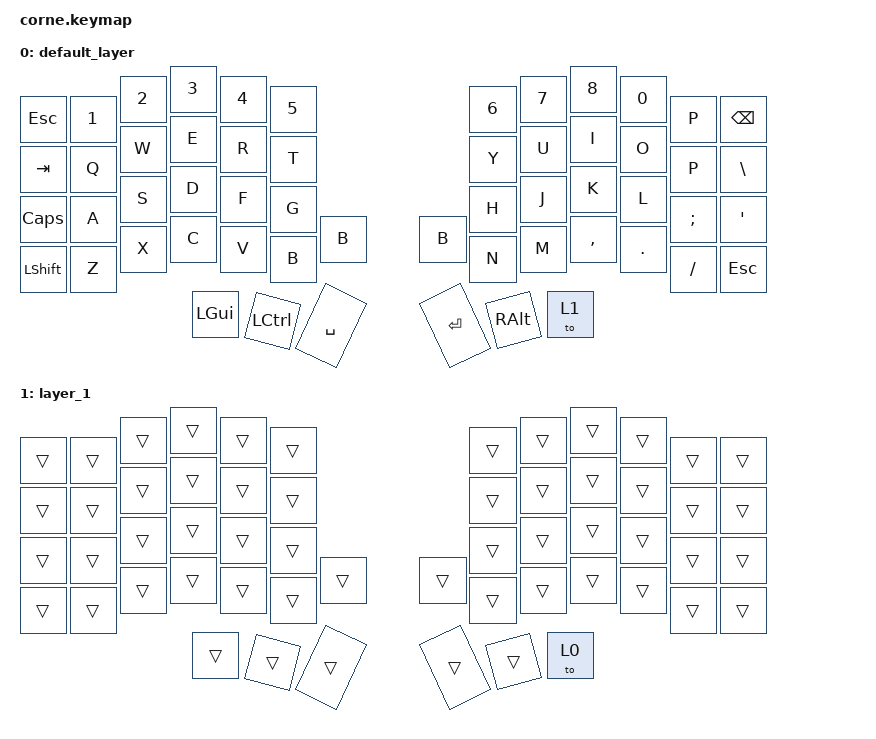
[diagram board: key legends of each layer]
/*
 * Copyright (c) 2020 The ZMK Contributors
 *
 * SPDX-License-Identifier: MIT
 */

#include <behaviors.dtsi>
#include <dt-bindings/zmk/keys.h>

/ {
    keymap {
        compatible = "zmk,keymap";

        default_layer {
            // -----------------------------------------------------------------------------------------
            // |  TAB |  Q  |  W  |  E  |  R  |  T  |   |  Y  |  U   |  I  |  O  |  P  | BSPC |
            // | CTRL |  A  |  S  |  D  |  F  |  G  |   |  H  |  J   |  K  |  L  |  ;  |  '   |
            // | SHFT |  Z  |  X  |  C  |  V  |  B  |   |  N  |  M   |  ,  |  .  |  /  | ESC  |
            //                    | GUI | LWR | SPC |   | ENT | RSE  | ALT |

            bindings = <
&kp ESC    &kp N1  &kp N2    &kp N3     &kp N4     &kp N5  &kp N6  &kp N7   &kp N8     &kp N0   &kp P     &kp BSPC
&kp TAB    &kp Q   &kp W     &kp E      &kp R      &kp T   &kp Y   &kp U    &kp I      &kp O    &kp P     &kp BSLH
&kp CAPS   &kp A   &kp S     &kp D      &kp F      &kp G   &kp H   &kp J    &kp K      &kp L    &kp SEMI  &kp SQT
&kp LSHFT  &kp Z   &kp X     &kp C      &kp V      &kp B   &kp N   &kp M    &kp COMMA  &kp DOT  &kp FSLH  &kp ESC
                   &kp LGUI  &kp LCTRL  &kp SPACE  &kp B   &kp B   &kp RET  &kp RALT   &to 1
            >;
        };

        layer_1 {
            bindings = <
&trans  &trans  &trans  &trans  &trans  &trans  &trans  &trans  &trans  &trans  &trans  &trans
&trans  &trans  &trans  &trans  &trans  &trans  &trans  &trans  &trans  &trans  &trans  &trans
&trans  &trans  &trans  &trans  &trans  &trans  &trans  &trans  &trans  &trans  &trans  &trans
&trans  &trans  &trans  &trans  &trans  &trans  &trans  &trans  &trans  &trans  &trans  &trans
                &trans  &trans  &trans  &trans  &trans  &trans  &trans  &to 0
            >;
        };
    };
};
